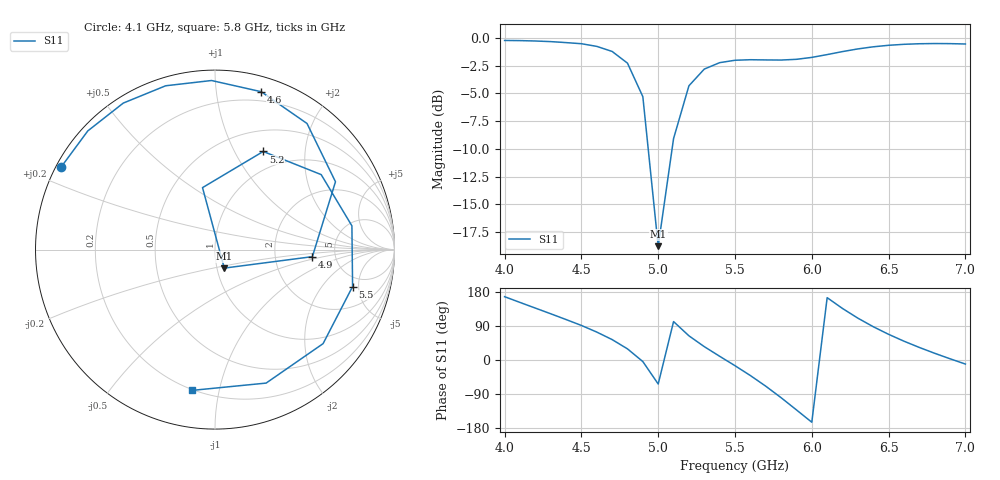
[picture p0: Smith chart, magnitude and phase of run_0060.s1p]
! Touchstone file exported from HFSS 2024.2.0
!  File:  C:/Users/wsak9/Desktop/Sim Fast/Widenad Patch/WP_AI_V1_sweep.aedt
!  Generated:  05:26:14 PM Oct 13, 2026
!  Design:  A1_model
!  Project:  WP_AI_V1_sweep
!  Setup:  Setup1
!  Solution:  Sweep
! Variables:
!  Air_gap = 2.16mm
!  Curve_Amp1 = 2.19
!  Curve_len1 = 1
!  Curve_pos = 11.155mm
!  Extra = 2.59mm
!  H_sub = 0.79mm
!  L_Patch = 18.31mm
!  L_Patch1 = 10.69mm
!  Sx = 2.59mm
!  Sy = 2.9mm
!  WS = 0.93mm
!  W_Patch = 21.63mm
!  W_Patch1 = 8.1mm
!Data is not renormalized
# GHz S MA
! Terminal data exported
! Port[1] = 1
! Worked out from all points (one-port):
!   31 points, 4 GHz to 7 GHz, reference per port
!   lowest |S11| = -18.8 dB at 5 GHz (marker M1), VSWR 1.26
!   |S11| at or under -10 dB: 4.935 GHz to 5.09 GHz (155.4 MHz wide, 3.1 % of centre)
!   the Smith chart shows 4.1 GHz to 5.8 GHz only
!   S11 on the Smith chart (normalised r, x): 4.1 GHz: 0.01, +0.25; 4.6 GHz: 0.12, +1.33; 4.9 GHz: 3.34, -0.37; 5.2 GHz: 0.75, +1.31; 5.5 GHz: 3.82, -4.25; 5.8 GHz: 0.19, -0.83
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4  0.9747 167.1
4.1  0.9732 151.9
4.3  0.9631 122.0
4.4  0.9532 106.8
4.5  0.9423 91.2
4.6  0.9166 73.7
4.7  0.8697 53.9
4.8  0.7703 29.4
4.9  0.5439 -4.1
5  0.1154 -63.3
5.1  0.3522 101.4
5.2  0.6091 63.8
5.3  0.7243 35.2
5.4  0.7742 9.9
5.5  0.7937 -15.0
5.6  0.7982 -41.0
5.7  0.7964 -69.0
5.8  0.7954 -99.4
5.9  0.8015 -131.6
6  0.8177 -164.3
6.1  0.8418 164.5
6.2  0.8685 135.9
6.3  0.8929 110.4
6.4  0.9125 87.8
6.5  0.9269 67.8
6.7  0.942 33.1
6.8  0.944 17.7
7  0.9396 -10.7
